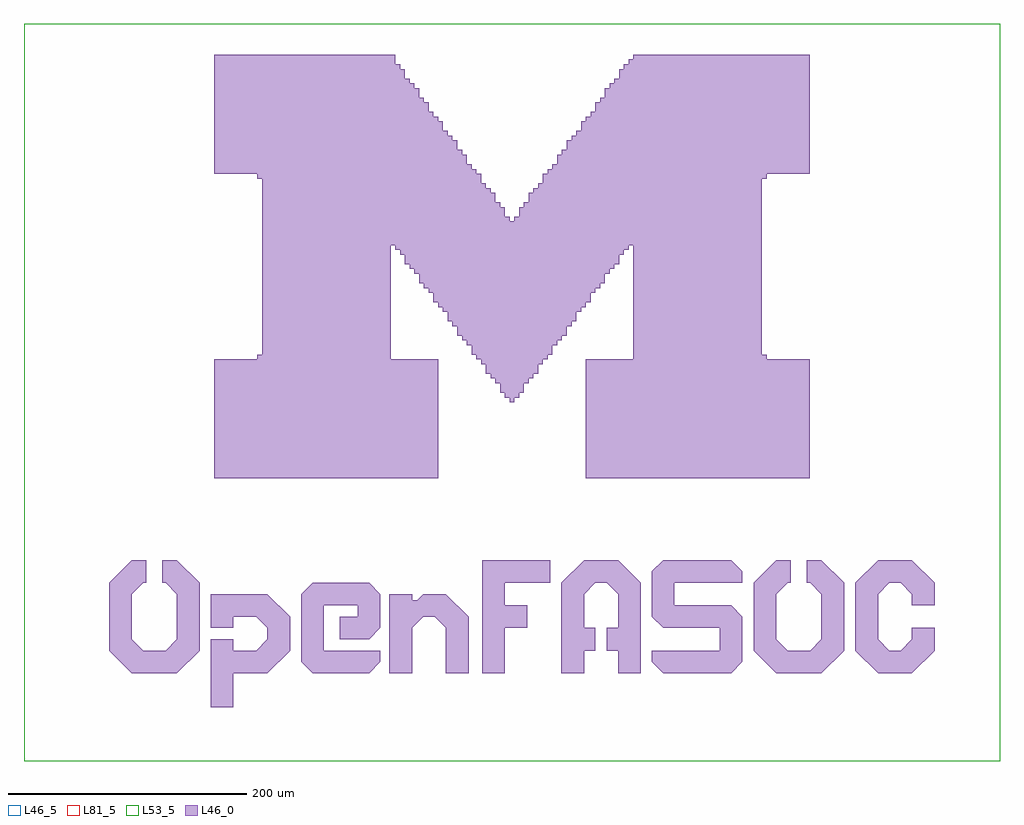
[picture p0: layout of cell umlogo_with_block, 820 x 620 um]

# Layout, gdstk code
import gdstk
lib = gdstk.Library(unit=1e-6, precision=1e-09)
def R(c, l, rs):  # rectangles x0, y0, x1, y1
    for r in rs: c.add(gdstk.rectangle(r[:2], r[2:], *l))
def P(c, l, *ps):  # polygons
    for p in ps: c.add(gdstk.Polygon(p, *l))
L46_0 = (46, 0)
L46_5 = (46, 5)
L53_5 = (53, 5)
L81_5 = (81, 5)

umich_fasoc_logo = lib.new_cell('umich_fasoc_logo')
R(umich_fasoc_logo, L46_0, [(572,360.688,591,389.188), (505.5,389.188,543.5,408.188), (572,389.188,619.5,408.188), (657.5,389.188,705,398.688), (722,389.188,741,436.688), (769.5,389.188,788.5,436.688), (800,389.188,819,427.188), (866.5,389.188,885.5,408.188), (914.125,389.188,933,408.188), (952,389.188,1009,398.688), (1047,389.188,1085,408.188), (1132.5,389.188,1161,408.188), (648,398.688,714.5,408.188), (942.5,398.688,1018.5,408.188), (486.5,408.188,505.5,465.188), (543.5,408.188,562.5,465.188), (572,408.188,591,417.688), (619.5,408.188,638.5,436.688), (648,408.188,667,446.188), (866.5,408.188,895,427.188), (904.5,408.188,933,427.188), (999.5,408.188,1018.5,427.188), (1028,408.188,1047,465.188), (1085,408.188,1104,465.188), (1113.5,408.188,1132.5,465.188), (1161,408.188,1180,427.188), (680.3,417.688,705,427.188), (572,427.188,591,436.688), (680.3,427.188,714.5,436.688), (800,427.188,838,446.188), (866.5,427.188,885.5,465.188), (914.125,427.188,933,465.188), (952,427.188,1018.5,436.688), (572,436.688,619.5,455.688), (695.5,436.688,714.5,446.188), (722,436.688,769.5,450.438), (942.5,436.688,1009,446.188), (648,446.188,714.5,455.688), (800,446.188,819,465.188), (942.5,446.188,961.5,465.188), (1161,446.188,1180,465.188), (722,450.438,741,455.688), (750.5,450.438,769.5,455.688), (657.5,455.688,705,465.188), (505.5,465.188,517.85,484.188), (531.15,465.188,543.5,484.188), (800,465.188,857,484.188), (885.5,465.188,914.125,484.188), (942.5,465.188,1018.5,474.688), (1047,465.188,1059.35,484.188), (1072.65,465.188,1085,484.188), (1132.5,465.188,1161,484.188), (952,474.688,1009,484.188), (575,552.775,763,652.775), (887,552.775,1075,652.775), (823,616.775,827,620.775), (819,620.775,831,624.775), (815,624.775,835,632.775), (811,632.775,839,636.775), (807,636.775,843,640.775), (803,640.775,847,648.775), (799,648.775,851,652.775), (611,652.775,723,656.775), (795,652.775,855,656.775), (927,652.775,1039,656.775), (615,656.775,723,748.775), (791,656.775,859,664.775), (927,656.775,1035,748.775), (787,664.775,863,668.775), (783,668.775,867,672.775), (779,672.775,871,680.775), (775,680.775,875,684.775), (771,684.775,879,692.775), (767,692.775,883,696.775), (763,696.775,887,700.775), (759,700.775,891,708.775), (755,708.775,895,712.775), (751,712.775,899,716.775), (747,716.775,903,724.775), (743,724.775,907,728.775), (739,728.775,911,732.775), (735,732.775,915,740.775), (731,740.775,919,744.775), (727,744.775,923,748.775), (615,748.775,1035,768.775), (615,768.775,823,772.775), (827,768.775,1035,772.775), (615,772.775,819,780.775), (831,772.775,1035,780.775), (615,780.775,815,784.775), (835,780.775,1035,784.775), (615,784.775,811,792.775), (839,784.775,1035,792.775), (615,792.775,807,796.775), (843,792.775,1035,796.775), (615,796.775,803,800.775), (847,796.775,1035,800.775), (615,800.775,799,804.775), (851,800.775,1035,804.775), (611,804.775,799,808.775), (851,804.775,1039,808.775), (575,808.775,795,812.775), (855,808.775,1075,812.775), (575,812.775,791,816.775), (859,812.775,1075,816.775), (575,816.775,787,824.775), (863,816.775,1075,824.775), (575,824.775,783,828.775), (867,824.775,1075,828.775), (575,828.775,779,836.775), (871,828.775,1075,836.775), (575,836.775,775,840.775), (875,836.775,1075,840.775), (575,840.775,771,844.775), (879,840.775,1075,844.775), (575,844.775,767,852.775), (883,844.775,1075,852.775), (575,852.775,763,856.775), (887,852.775,1075,856.775), (575,856.775,759,860.775), (891,856.775,1075,860.775), (575,860.775,755,868.775), (895,860.775,1075,868.775), (575,868.775,751,872.775), (899,868.775,1075,872.775), (575,872.775,747,880.775), (903,872.775,1075,880.775), (575,880.775,743,884.775), (907,880.775,1075,884.775), (575,884.775,739,888.775), (911,884.775,1075,888.775), (575,888.775,735,896.775), (915,888.775,1075,896.775), (575,896.775,731,900.775), (919,896.775,1075,900.775), (575,900.775,727,908.775), (923,900.775,1075,904.775), (927,904.775,1075,908.775)])
P(umich_fasoc_logo, L46_0, [(486.5,465.188),(505.5,484.188),(505.5,465.188)],
  [(543.5,465.188),(543.5,484.188),(562.5,465.188)],
  [(866.5,465.188),(885.5,484.188),(885.5,465.188)],
  [(914.125,465.188),(914.125,484.188),(933.125,465.188)],
  [(942.5,474.688),(952,484.188),(952,474.688)],
  [(1009,474.688),(1009,484.188),(1018.5,474.688)],
  [(1028,465.188),(1047,484.188),(1047,465.188)],
  [(1085,465.188),(1085,484.188),(1104,465.188)],
  [(505.5,455.688),(505.5,465.188),(515,465.188)],
  [(543.5,455.688),(534,465.188),(543.5,465.188)],
  [(505.5,408.188),(505.5,417.688),(515,408.188)],
  [(534,408.188),(543.5,417.688),(543.5,408.188)],
  [(648,455.688),(657.5,465.188),(657.5,455.688)],
  [(705,455.688),(705,465.188),(714.5,455.688)],
  [(619.5,436.688),(619.5,455.688),(638.5,436.688)],
  [(619.5,427.188),(610,436.688),(619.5,436.688)],
  [(505.5,389.188),(486.5,408.188),(505.5,408.188)],
  [(543.5,389.188),(543.5,408.188),(562.5,408.188)],
  [(610,408.188),(619.5,417.688),(619.5,408.188)],
  [(619.5,389.188),(619.5,408.188),(638.5,408.188)],
  [(705,417.688),(705,427.188),(714.5,427.188)],
  [(745.25,450.438),(750.5,455.688),(750.5,450.438)],
  [(769.5,436.688),(769.5,455.688),(788.5,436.688)],
  [(657.5,389.188),(648,398.688),(657.5,398.688)],
  [(705,389.188),(705,398.688),(714.5,398.688)],
  [(741,427.188),(741,436.688),(750.5,436.688)],
  [(769.5,427.188),(760,436.688),(769.5,436.688)],
  [(885.5,455.688),(885.5,465.188),(895,465.188)],
  [(914.125,455.688),(904.625,465.188),(914.125,465.188)],
  [(1009,436.688),(1009,446.188),(1018.5,436.688)],
  [(952,427.188),(942.5,436.688),(952,436.688)],
  [(952,389.188),(942.5,398.688),(952,398.688)],
  [(1009,389.188),(1009,398.688),(1018.5,398.688)],
  [(1047,455.688),(1047,465.188),(1056.5,465.188)],
  [(1085,455.688),(1075.5,465.188),(1085,465.188)],
  [(1047,408.188),(1047,417.688),(1056.5,408.188)],
  [(1075.5,408.188),(1085,417.688),(1085,408.188)],
  [(1047,389.188),(1028,408.188),(1047,408.188)],
  [(1085,389.188),(1085,408.188),(1104,408.188)],
  [(1113.5,465.188),(1132.5,484.188),(1132.5,465.188)],
  [(1161,465.188),(1161,484.188),(1180,465.188)],
  [(1132.5,455.688),(1132.5,465.188),(1142,465.188)],
  [(1161,455.688),(1151.5,465.188),(1161,465.188)],
  [(1132.5,408.188),(1132.5,417.688),(1142,408.188)],
  [(1151.5,408.188),(1161,417.688),(1161,408.188)],
  [(1132.5,389.188),(1113.5,408.188),(1132.5,408.188)],
  [(1161,389.188),(1161,408.188),(1180,408.188)])

umlogo_with_block = lib.new_cell('umlogo_with_block')
R(umlogo_with_block, L46_0, [(518,74.188,518.125,150.188)])
R(umlogo_with_block, L46_5, [(0,0,820,620)])
R(umlogo_with_block, L53_5, [(0,0,820,620)])
R(umlogo_with_block, L81_5, [(0,0,820,620)])
umlogo_with_block.add(gdstk.Reference(umich_fasoc_logo, (-415,-315)))

lib.write_gds('umlogo_with_block.gds')
